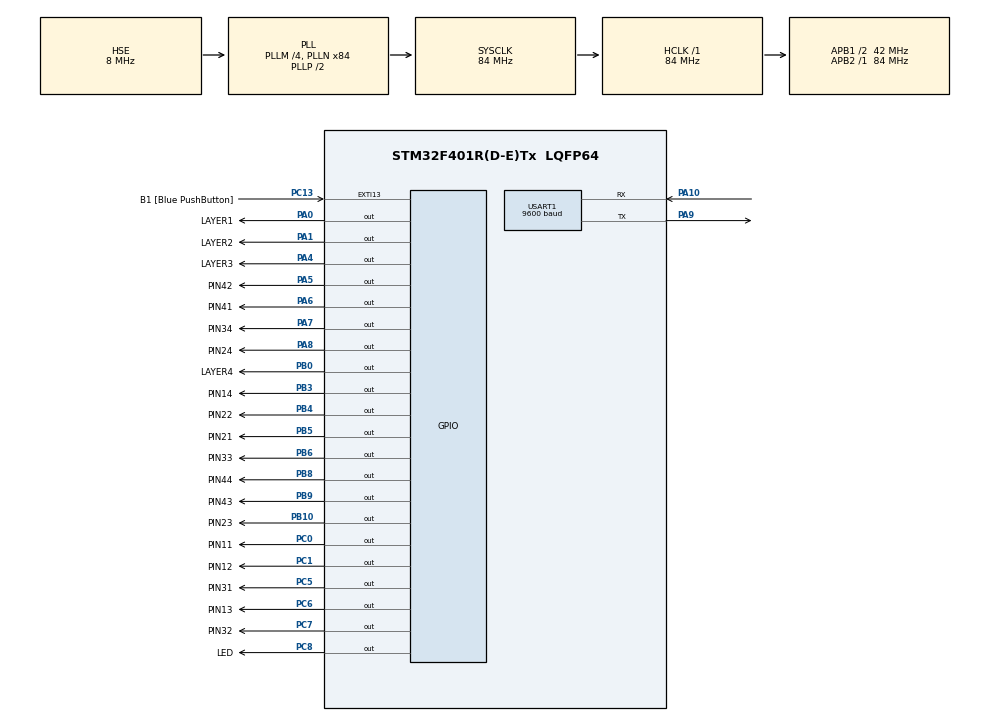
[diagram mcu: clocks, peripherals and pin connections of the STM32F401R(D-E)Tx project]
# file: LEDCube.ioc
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Mcu.Family=STM32F4
Mcu.Name=STM32F401R(D-E)Tx
Mcu.Package=LQFP64
NVIC.PriorityGroup=NVIC_PRIORITYGROUP_0
NVIC.TIM3_IRQn=true\:0\:0\:false\:false\:true\:true\:true\:true
NVIC.USART1_IRQn=true\:0\:0\:false\:false\:true\:true\:true\:true
PA0-WKUP.GPIO_Label=LAYER1
PA0-WKUP.Signal=GPIO_Output
PA1.GPIO_Label=LAYER2
PA1.Signal=GPIO_Output
PA10.Mode=Asynchronous
PA10.Signal=USART1_RX
PA13.GPIO_Label=TMS
PA13.Mode=Serial_Wire
PA13.Signal=SYS_JTMS-SWDIO
PA14.GPIO_Label=TCK
PA14.Mode=Serial_Wire
PA14.Signal=SYS_JTCK-SWCLK
PA4.GPIO_Label=LAYER3
PA4.Signal=GPIO_Output
PA5.GPIO_Label=PIN42
PA5.Signal=GPIO_Output
PA6.GPIO_Label=PIN41
PA6.Signal=GPIO_Output
PA7.GPIO_Label=PIN34
PA7.Signal=GPIO_Output
PA8.GPIO_Label=PIN24
PA8.Signal=GPIO_Output
PA9.Mode=Asynchronous
PA9.Signal=USART1_TX
PB0.GPIO_Label=LAYER4
PB0.Signal=GPIO_Output
PB10.GPIO_Label=PIN23
PB10.Signal=GPIO_Output
PB3.GPIO_Label=PIN14
PB3.Signal=GPIO_Output
PB4.GPIO_Label=PIN22
PB4.Signal=GPIO_Output
PB5.GPIO_Label=PIN21
PB5.Signal=GPIO_Output
PB6.GPIO_Label=PIN33
PB6.Signal=GPIO_Output
PB8.GPIO_Label=PIN44
PB8.Signal=GPIO_Output
PB9.GPIO_Label=PIN43
PB9.Signal=GPIO_Output
PC0.GPIO_Label=PIN11
PC0.Signal=GPIO_Output
PC1.GPIO_Label=PIN12
PC1.Signal=GPIO_Output
PC13-ANTI_TAMP.GPIO_Label=B1 [Blue PushButton]
PC13-ANTI_TAMP.GPIO_ModeDefaultEXTI=GPIO_MODE_IT_FALLING
PC13-ANTI_TAMP.GPIO_PuPd=GPIO_NOPULL
PC13-ANTI_TAMP.Signal=GPXTI13
PC14-OSC32_IN.Mode=LSE-External-Oscillator
PC14-OSC32_IN.Signal=RCC_OSC32_IN
PC15-OSC32_OUT.Mode=LSE-External-Oscillator
PC15-OSC32_OUT.Signal=RCC_OSC32_OUT
PC5.GPIO_Label=PIN31
PC5.Signal=GPIO_Output
PC6.GPIO_Label=PIN13
PC6.Signal=GPIO_Output
PC7.GPIO_Label=PIN32
PC7.Signal=GPIO_Output
PC8.GPIO_Label=LED
PC8.Signal=GPIO_Output
PH0\ -\ OSC_IN.Mode=HSE-External-Clock-Source
PH0\ -\ OSC_IN.Signal=RCC_OSC_IN
PH1\ -\ OSC_OUT.Mode=HSE-External-Clock-Source
PH1\ -\ OSC_OUT.Signal=RCC_OSC_OUT
ProjectManager.HeapSize=0x200
ProjectManager.StackSize=0x400
ProjectManager.TargetToolchain=STM32CubeIDE
RCC.48MHZClocksFreq_Value=24000000
RCC.AHBFreq_Value=84000000
RCC.APB1CLKDivider=RCC_HCLK_DIV2
RCC.APB1Freq_Value=42000000
RCC.APB1TimFreq_Value=84000000
RCC.APB2Freq_Value=84000000
RCC.APB2TimFreq_Value=84000000
RCC.CortexFreq_Value=84000000
RCC.HCLKFreq_Value=84000000
RCC.HSE_VALUE=8000000
RCC.HSI_VALUE=16000000
RCC.PLLM=4
RCC.PLLN=84
RCC.PLLQ=7
RCC.PLLSourceVirtual=RCC_PLLSOURCE_HSE
RCC.SYSCLKFreq_VALUE=84000000
RCC.SYSCLKSource=RCC_SYSCLKSOURCE_PLLCLK
RCC.VCOOutputFreq_Value=168000000
TIM3.Period=1999
TIM3.Prescaler=720
USART1.BaudRate=9600
USART1.VirtualMode=VM_ASYNC
VP_TIM3_VS_ClockSourceINT.Mode=Internal
board=NUCLEO-F401RE

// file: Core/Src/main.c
/* USER CODE BEGIN Header */
/**
  ******************************************************************************
  * @file           : main.c
  * @brief          : Main program body
  ******************************************************************************
  * @attention
  *
  * Copyright (c) 2024 STMicroelectronics.
  * All rights reserved.
  *
  * This software is licensed under terms that can be found in the LICENSE file
  * in the root directory of this software component.
  * If no LICENSE file comes with this software, it is provided AS-IS.
  *
  ******************************************************************************
  */
/* USER CODE END Header */
#include "main.h"
#include "LedCubeModes.h"

/* USER CODE BEGIN Includes */

#include <stdio.h>
#include <string.h>
#include <stdint.h>
#include <stdbool.h>

/* USER CODE END Includes */

/* USER CODE BEGIN PD */
#define MAX_COMMAND_QUEUE 10
/* USER CODE END PD */

TIM_HandleTypeDef htim3;

UART_HandleTypeDef huart1;

/* USER CODE BEGIN PV */
uint8_t rxData;
/* USER CODE END PV */

void SystemClock_Config(void);
static void MX_GPIO_Init(void);
static void MX_TIM3_Init(void);
static void MX_USART1_UART_Init(void);

/* USER CODE BEGIN 0 */

char *demo_string = "Hello \r\n"; //demo string
uint8_t recv_char;
uint8_t recv_str[40];
uint8_t command[40];
int i=0;
char *on = "on";
char *off = "off";
char *all_leds_on = "all_leds_on";
char *all_leds_off = "all_leds_off";
uint8_t ft = 76;
volatile bool interruptOccurred = false;

#define COMMAND_FLICKER_ON "command_flicker_on"
#define COMMAND_LAYER_UP_DOWN "command_layer_up_down"
#define COMMAND_COLUMNS_SIDEWAYS "command_columns_sideways"
#define COMMAND_STOMP_UP_DOWN "command_stomp_up_down"
#define COMMAND_FLICKER_OFF "command_flicker_off"
#define COMMAND_AROUND_EDGE "command_around_edge"
#define COMMAND_RECTANGLE "command_rectangle"
#define COMMAND_PROPELLER "command_propeller"
#define COMMAND_SPIRAL "command_spiral"
#define COMMAND_ALL_LEDS "command_all_leds"
#define COMMAND_ALL_ON "all_leds_on"
#define COMMAND_ALL_OFF "all_leds_off"

typedef struct {
    char command[40];
    bool active;
} CommandQueueItem;

CommandQueueItem commandQueue[MAX_COMMAND_QUEUE];
int commandQueueSize = 0;

void processBluetoothCommands(char* recv_str) {
    char commandOn[40];
    char commandOff[40];

    strcpy(commandOn, recv_str);
    strcpy(commandOff, recv_str);
    strcat(commandOn, "_on");
    strcat(commandOff, "_off");

    // Check if the received command is to turn on
    if (strstr(recv_str, "_on")) {
        // Remove "_on" from the command
        recv_str[strlen(recv_str) - 3] = '\0';

        // Check if the command is already in the queue
        for (int j = 0; j < commandQueueSize; ++j) {
            if (!strcmp(commandQueue[j].command, recv_str)) {
                // Command already in queue, no need to add it again
                return;
            }
        }

        // Add the command to the queue
        if (commandQueueSize < MAX_COMMAND_QUEUE) {
            strcpy(commandQueue[commandQueueSize].command, recv_str);
            commandQueue[commandQueueSize].active = true;
            commandQueueSize++;
        }
    } else if (strstr(recv_str, "_off")) {
        // Remove "_off" from the command
        recv_str[strlen(recv_str) - 4] = '\0';

        // Deactivate the command in the queue
        for (int j = 0; j < commandQueueSize; ++j) {
            if (!strcmp(commandQueue[j].command, recv_str)) {
                // Remove the command from the queue
                for (int k = j; k < commandQueueSize - 1; ++k) {
                    commandQueue[k] = commandQueue[k + 1];
                }
                commandQueueSize--;
                return;
            }
        }
    }
}

void executeCommandQueue() {
    for (int j = 0; j < commandQueueSize; ++j) {
        if (commandQueue[j].active) {
            if (!strcmp(commandQueue[j].command, COMMAND_FLICKER_ON)) {
                flickerOn();
            } else if (!strcmp(commandQueue[j].command, COMMAND_LAYER_UP_DOWN)) {
                turnOnAndOffAllByLayerUpAndDownNotTimed();
            } else if (!strcmp(commandQueue[j].command, COMMAND_COLUMNS_SIDEWAYS)) {
                turnOnAndOffAllByColumnSideways();
            } else if (!strcmp(commandQueue[j].command, COMMAND_STOMP_UP_DOWN)) {
                layerstompUpAndDown();
            } else if (!strcmp(commandQueue[j].command, COMMAND_FLICKER_OFF)) {
                flickerOff();
            } else if (!strcmp(commandQueue[j].command, COMMAND_AROUND_EDGE)) {
                aroundEdgeDown();
            } else if (!strcmp(commandQueue[j].command, COMMAND_RECTANGLE)) {
                diagonalRectangle();
            } else if (!strcmp(commandQueue[j].command, COMMAND_PROPELLER)) {
                propeller();
            } else if (!strcmp(commandQueue[j].command, COMMAND_SPIRAL)) {
                spiralInAndOut();
            } else if (!strcmp(commandQueue[j].command, COMMAND_ALL_LEDS)) {
                goThroughAllLedsOneAtATime();
            }
        }
    }
}

/* USER CODE END 0 */

int main(void)
{

  /* MCU Configuration--------------------------------------------------------*/

  /* Reset of all peripherals, Initializes the Flash interface and the Systick. */
  HAL_Init();

  /* Configure the system clock */
  SystemClock_Config();

  /* Initialize all configured peripherals */
  MX_GPIO_Init();
  MX_TIM3_Init();
  MX_USART1_UART_Init();
  /* USER CODE BEGIN 2 */
  HAL_UART_Receive_IT(&huart1, &recv_char, 1);

//    HAL_UART_Receive_IT(&huart1, &recv_char, 1); //UART1 Interrupt call
  /* USER CODE END 2 */

  /* Infinite loop */
  /* USER CODE BEGIN WHILE */
  while (1)
  {
	  if(!strcmp(recv_str, on)){
	  		   HAL_GPIO_WritePin(LED_GPIO_Port, LED_Pin, SET);
	  		}
	  if(!strcmp(recv_str, off)){
	  		    HAL_GPIO_WritePin(LED_GPIO_Port, LED_Pin, RESET);
	  	    }
	  if(!strcmp(recv_str, all_leds_on)){
	  	  		    enableAllPins();
	  	  	    }
	  if(!strcmp(recv_str, all_leds_off)){
	 	  	  		    disableAllPins();
	 	  	  	    }

	  		if(interruptOccurred) {
	  			interruptOccurred = false;
	  			processBluetoothCommands(command);
	  		}
	 executeCommandQueue();

    /* USER CODE END WHILE */

  }
}

void SystemClock_Config(void)
{
  RCC_OscInitTypeDef RCC_OscInitStruct = {0};
  RCC_ClkInitTypeDef RCC_ClkInitStruct = {0};

  /** Configure the main internal regulator output voltage
  */
  __HAL_RCC_PWR_CLK_ENABLE();
  __HAL_PWR_VOLTAGESCALING_CONFIG(PWR_REGULATOR_VOLTAGE_SCALE2);

  /** Initializes the RCC Oscillators according to the specified parameters
  * in the RCC_OscInitTypeDef structure.
  */
  RCC_OscInitStruct.OscillatorType = RCC_OSCILLATORTYPE_HSE;
  RCC_OscInitStruct.HSEState = RCC_HSE_BYPASS;
  RCC_OscInitStruct.PLL.PLLState = RCC_PLL_ON;
  RCC_OscInitStruct.PLL.PLLSource = RCC_PLLSOURCE_HSE;
  RCC_OscInitStruct.PLL.PLLM = 4;
  RCC_OscInitStruct.PLL.PLLN = 84;
  RCC_OscInitStruct.PLL.PLLP = RCC_PLLP_DIV2;
  RCC_OscInitStruct.PLL.PLLQ = 7;
  if (HAL_RCC_OscConfig(&RCC_OscInitStruct) != HAL_OK)
  {
    Error_Handler();
  }

  /** Initializes the CPU, AHB and APB buses clocks
  */
  RCC_ClkInitStruct.ClockType = RCC_CLOCKTYPE_HCLK|RCC_CLOCKTYPE_SYSCLK
                              |RCC_CLOCKTYPE_PCLK1|RCC_CLOCKTYPE_PCLK2;
  RCC_ClkInitStruct.SYSCLKSource = RCC_SYSCLKSOURCE_PLLCLK;
  RCC_ClkInitStruct.AHBCLKDivider = RCC_SYSCLK_DIV1;
  RCC_ClkInitStruct.APB1CLKDivider = RCC_HCLK_DIV2;
  RCC_ClkInitStruct.APB2CLKDivider = RCC_HCLK_DIV1;

  if (HAL_RCC_ClockConfig(&RCC_ClkInitStruct, FLASH_LATENCY_2) != HAL_OK)
  {
    Error_Handler();
  }
}

static void MX_TIM3_Init(void)
{

  TIM_ClockConfigTypeDef sClockSourceConfig = {0};
  TIM_MasterConfigTypeDef sMasterConfig = {0};

  htim3.Instance = TIM3;
  htim3.Init.Prescaler = 720;
  htim3.Init.CounterMode = TIM_COUNTERMODE_UP;
  htim3.Init.Period = 1999;
  htim3.Init.ClockDivision = TIM_CLOCKDIVISION_DIV1;
  htim3.Init.AutoReloadPreload = TIM_AUTORELOAD_PRELOAD_DISABLE;
  if (HAL_TIM_Base_Init(&htim3) != HAL_OK)
  {
    Error_Handler();
  }
  sClockSourceConfig.ClockSource = TIM_CLOCKSOURCE_INTERNAL;
  if (HAL_TIM_ConfigClockSource(&htim3, &sClockSourceConfig) != HAL_OK)
  {
    Error_Handler();
  }
  sMasterConfig.MasterOutputTrigger = TIM_TRGO_RESET;
  sMasterConfig.MasterSlaveMode = TIM_MASTERSLAVEMODE_DISABLE;
  if (HAL_TIMEx_MasterConfigSynchronization(&htim3, &sMasterConfig) != HAL_OK)
  {
    Error_Handler();
  }

}

static void MX_USART1_UART_Init(void)
{

  huart1.Instance = USART1;
  huart1.Init.BaudRate = 9600;
  huart1.Init.WordLength = UART_WORDLENGTH_8B;
  huart1.Init.StopBits = UART_STOPBITS_1;
  huart1.Init.Parity = UART_PARITY_NONE;
  huart1.Init.Mode = UART_MODE_TX_RX;
  huart1.Init.HwFlowCtl = UART_HWCONTROL_NONE;
  huart1.Init.OverSampling = UART_OVERSAMPLING_16;
  if (HAL_UART_Init(&huart1) != HAL_OK)
  {
    Error_Handler();
  }

}

static void MX_GPIO_Init(void)
{
  GPIO_InitTypeDef GPIO_InitStruct = {0};

  /* GPIO Ports Clock Enable */
  __HAL_RCC_GPIOC_CLK_ENABLE();
  __HAL_RCC_GPIOH_CLK_ENABLE();
  __HAL_RCC_GPIOA_CLK_ENABLE();
  __HAL_RCC_GPIOB_CLK_ENABLE();

  /*Configure GPIO pin Output Level */
  HAL_GPIO_WritePin(GPIOC, PIN11_Pin|PIN12_Pin|PIN31_Pin|PIN13_Pin
                          |PIN32_Pin|LED_Pin, GPIO_PIN_RESET);

  /*Configure GPIO pin Output Level */
  HAL_GPIO_WritePin(GPIOA, LAYER1_Pin|LAYER2_Pin|LAYER3_Pin|PIN42_Pin
                          |PIN41_Pin|PIN34_Pin|PIN24_Pin, GPIO_PIN_RESET);

  /*Configure GPIO pin Output Level */
  HAL_GPIO_WritePin(GPIOB, LAYER4_Pin|PIN23_Pin|PIN14_Pin|PIN22_Pin
                          |PIN21_Pin|PIN33_Pin|PIN44_Pin|PIN43_Pin, GPIO_PIN_RESET);

  /*Configure GPIO pin : B1_Pin */
  GPIO_InitStruct.Pin = B1_Pin;
  GPIO_InitStruct.Mode = GPIO_MODE_IT_FALLING;
  GPIO_InitStruct.Pull = GPIO_NOPULL;
  HAL_GPIO_Init(B1_GPIO_Port, &GPIO_InitStruct);

  /*Configure GPIO pins : PIN11_Pin PIN12_Pin PIN31_Pin PIN13_Pin
                           PIN32_Pin LED_Pin */
  GPIO_InitStruct.Pin = PIN11_Pin|PIN12_Pin|PIN31_Pin|PIN13_Pin
                          |PIN32_Pin|LED_Pin;
  GPIO_InitStruct.Mode = GPIO_MODE_OUTPUT_PP;
  GPIO_InitStruct.Pull = GPIO_NOPULL;
  GPIO_InitStruct.Speed = GPIO_SPEED_FREQ_LOW;
  HAL_GPIO_Init(GPIOC, &GPIO_InitStruct);

  /*Configure GPIO pins : LAYER1_Pin LAYER2_Pin LAYER3_Pin PIN42_Pin
                           PIN41_Pin PIN34_Pin PIN24_Pin */
  GPIO_InitStruct.Pin = LAYER1_Pin|LAYER2_Pin|LAYER3_Pin|PIN42_Pin
                          |PIN41_Pin|PIN34_Pin|PIN24_Pin;
  GPIO_InitStruct.Mode = GPIO_MODE_OUTPUT_PP;
  GPIO_InitStruct.Pull = GPIO_NOPULL;
  GPIO_InitStruct.Speed = GPIO_SPEED_FREQ_LOW;
  HAL_GPIO_Init(GPIOA, &GPIO_InitStruct);

  /*Configure GPIO pins : LAYER4_Pin PIN23_Pin PIN14_Pin PIN22_Pin
                           PIN21_Pin PIN33_Pin PIN44_Pin PIN43_Pin */
  GPIO_InitStruct.Pin = LAYER4_Pin|PIN23_Pin|PIN14_Pin|PIN22_Pin
                          |PIN21_Pin|PIN33_Pin|PIN44_Pin|PIN43_Pin;
  GPIO_InitStruct.Mode = GPIO_MODE_OUTPUT_PP;
  GPIO_InitStruct.Pull = GPIO_NOPULL;
  GPIO_InitStruct.Speed = GPIO_SPEED_FREQ_LOW;
  HAL_GPIO_Init(GPIOB, &GPIO_InitStruct);

}

/* USER CODE BEGIN 4 */

void HAL_UART_RxCpltCallback(UART_HandleTypeDef *huart){
    if(huart->Instance == USART1 ){
        if(recv_char == '\r'){
        memset(command, 0, sizeof(command));
        memcpy(command, recv_str, sizeof(recv_str));
		memset(recv_str, 0, sizeof(recv_str));
		i=0;
		interruptOccurred = true;
		}else{
		    if(recv_char != '\n'){
		    	recv_str[i++] = recv_char;
		}
	 }
	 HAL_UART_Receive_IT(&huart1, &recv_char, 1); //UART1 Interrupt call

    }
}
/* USER CODE END 4 */

void Error_Handler(void)
{
  __disable_irq();
  while (1)
  {
  }
}
